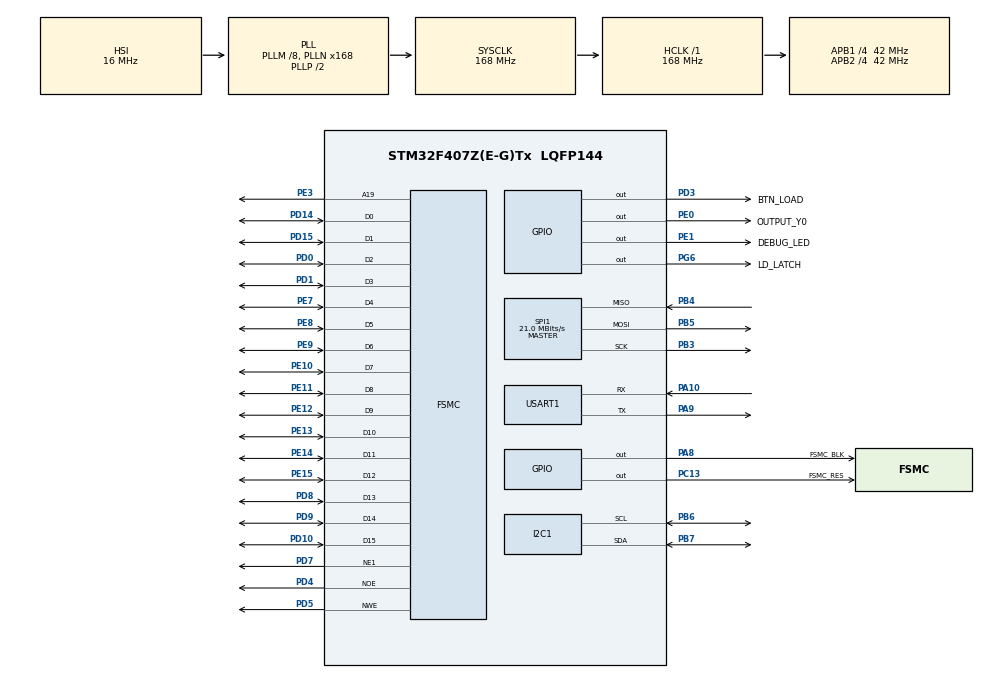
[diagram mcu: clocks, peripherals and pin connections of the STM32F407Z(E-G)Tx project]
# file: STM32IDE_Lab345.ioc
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FSMC.AddressSetupTime1=0xf
FSMC.BusTurnAroundDuration1=0
FSMC.DataSetupTime1=60
FSMC.ExtendedAddressSetupTime1=8
FSMC.ExtendedBusTurnAroundDuration1=0
FSMC.ExtendedDataSetupTime1=9
FSMC.ExtendedMode1=FSMC_EXTENDED_MODE_ENABLE
Mcu.Family=STM32F4
Mcu.Name=STM32F407Z(E-G)Tx
Mcu.Package=LQFP144
NVIC.PriorityGroup=NVIC_PRIORITYGROUP_4
NVIC.TIM2_IRQn=true\:0\:0\:false\:false\:true\:true\:true
NVIC.USART1_IRQn=true\:0\:0\:false\:false\:true\:true\:true
PA10.Mode=Asynchronous
PA10.Signal=USART1_RX
PA13.Mode=Serial_Wire
PA13.Signal=SYS_JTMS-SWDIO
PA14.Mode=Serial_Wire
PA14.Signal=SYS_JTCK-SWCLK
PA8.GPIO_Label=FSMC_BLK
PA8.Signal=GPIO_Output
PA9.Mode=Asynchronous
PA9.Signal=USART1_TX
PB3.Mode=Full_Duplex_Master
PB3.Signal=SPI1_SCK
PB4.Mode=Full_Duplex_Master
PB4.Signal=SPI1_MISO
PB5.Mode=Full_Duplex_Master
PB5.Signal=SPI1_MOSI
PB6.Mode=I2C
PB6.Signal=I2C1_SCL
PB7.Mode=I2C
PB7.Signal=I2C1_SDA
PC13-ANTI_TAMP.GPIO_Label=FSMC_RES
PC13-ANTI_TAMP.Signal=GPIO_Output
PD0.Signal=FSMC_D2_DA2
PD1.Signal=FSMC_D3_DA3
PD10.Signal=FSMC_D15_DA15
PD14.Signal=FSMC_D0_DA0
PD15.Signal=FSMC_D1_DA1
PD3.GPIO_Label=BTN_LOAD
PD3.GPIO_PuPd=GPIO_NOPULL
PD3.Signal=GPIO_Output
PD4.Signal=FSMC_NOE
PD5.Signal=FSMC_NWE
PD7.Mode=NorPsramChipSelect1_1
PD7.Signal=FSMC_NE1
PD8.Signal=FSMC_D13_DA13
PD9.Signal=FSMC_D14_DA14
PE0.GPIO_Label=OUTPUT_Y0
PE0.Signal=GPIO_Output
PE1.GPIO_Label=DEBUG_LED
PE1.Signal=GPIO_Output
PE10.Signal=FSMC_D7_DA7
PE11.Signal=FSMC_D8_DA8
PE12.Signal=FSMC_D9_DA9
PE13.Signal=FSMC_D10_DA10
PE14.Signal=FSMC_D11_DA11
PE15.Signal=FSMC_D12_DA12
PE3.Signal=FSMC_A19
PE7.Signal=FSMC_D4_DA4
PE8.Signal=FSMC_D5_DA5
PE9.Signal=FSMC_D6_DA6
PG6.GPIO_Label=LD_LATCH
PG6.Signal=GPIO_Output
PH0-OSC_IN.Mode=HSE-External-Oscillator
PH0-OSC_IN.Signal=RCC_OSC_IN
PH1-OSC_OUT.Mode=HSE-External-Oscillator
PH1-OSC_OUT.Signal=RCC_OSC_OUT
ProjectManager.HeapSize=0x200
ProjectManager.StackSize=0x400
ProjectManager.TargetToolchain=STM32CubeIDE
RCC.48MHZClocksFreq_Value=84000000
RCC.AHBFreq_Value=168000000
RCC.APB1CLKDivider=RCC_HCLK_DIV4
RCC.APB1Freq_Value=42000000
RCC.APB1TimFreq_Value=84000000
RCC.APB2CLKDivider=RCC_HCLK_DIV4
RCC.APB2Freq_Value=42000000
RCC.APB2TimFreq_Value=84000000
RCC.CortexFreq_Value=168000000
RCC.HCLKFreq_Value=168000000
RCC.HSE_VALUE=8000000
RCC.HSI_VALUE=16000000
RCC.LSE_VALUE=32768
RCC.PLLM=8
RCC.PLLN=168
RCC.SYSCLKFreq_VALUE=168000000
RCC.SYSCLKSource=RCC_SYSCLKSOURCE_PLLCLK
RCC.VCOOutputFreq_Value=336000000
SH.FSMC_A19.0=FSMC_A19,A19_1
SH.FSMC_D0_DA0.0=FSMC_D0,16b-d1
SH.FSMC_D10_DA10.0=FSMC_D10,16b-d1
SH.FSMC_D11_DA11.0=FSMC_D11,16b-d1
SH.FSMC_D12_DA12.0=FSMC_D12,16b-d1
SH.FSMC_D13_DA13.0=FSMC_D13,16b-d1
SH.FSMC_D14_DA14.0=FSMC_D14,16b-d1
SH.FSMC_D15_DA15.0=FSMC_D15,16b-d1
SH.FSMC_D1_DA1.0=FSMC_D1,16b-d1
SH.FSMC_D2_DA2.0=FSMC_D2,16b-d1
SH.FSMC_D3_DA3.0=FSMC_D3,16b-d1
SH.FSMC_D4_DA4.0=FSMC_D4,16b-d1
SH.FSMC_D5_DA5.0=FSMC_D5,16b-d1
SH.FSMC_D6_DA6.0=FSMC_D6,16b-d1
SH.FSMC_D7_DA7.0=FSMC_D7,16b-d1
SH.FSMC_D8_DA8.0=FSMC_D8,16b-d1
SH.FSMC_D9_DA9.0=FSMC_D9,16b-d1
SH.FSMC_NOE.0=FSMC_NOE,Lcd1
SH.FSMC_NWE.0=FSMC_NWE,Lcd1
SPI1.CalculateBaudRate=21.0 MBits/s
SPI1.Direction=SPI_DIRECTION_2LINES
SPI1.Mode=SPI_MODE_MASTER
SPI1.VirtualType=VM_MASTER
TIM2.Period=100-1
TIM2.Prescaler=840-1
USART1.VirtualMode=VM_ASYNC
VP_TIM2_VS_ClockSourceINT.Mode=Internal
board=custom

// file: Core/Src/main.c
/* USER CODE BEGIN Header */
/**
  ******************************************************************************
  * @file           : main.c
  * @brief          : Main program body
  ******************************************************************************
  * @attention
  *
  * <h2><center>&copy; Copyright (c) 2024 STMicroelectronics.
  * All rights reserved.</center></h2>
  *
  * This software component is licensed by ST under BSD 3-Clause license,
  * the "License"; You may not use this file except in compliance with the
  * License. You may obtain a copy of the License at:
  *                        opensource.org/licenses/BSD-3-Clause
  *
  ******************************************************************************
  */
/* USER CODE END Header */
#include "main.h"

/* USER CODE BEGIN Includes */
#include "lcd.h"
#include "button.h"
#include "fsm_manual.h"
#include "clock_automatic.h"
#include "software_timer.h"
#include "led7_segment.h"
#include "led_7seg.h"
#include "picture.h"
#include "ds3231.h"
#include "uart.h"
#include "i2c.h"
#include "spi.h"
#include "usart.h"
#include "global.h"
#include "clock_setting.h"
/* USER CODE END Includes */

I2C_HandleTypeDef hi2c1;

SPI_HandleTypeDef hspi1;

TIM_HandleTypeDef htim2;

UART_HandleTypeDef huart1;

SRAM_HandleTypeDef hsram1;

void SystemClock_Config(void);
static void MX_GPIO_Init(void);
static void MX_TIM2_Init(void);
static void MX_FSMC_Init(void);
static void MX_I2C1_Init(void);
static void MX_SPI1_Init(void);
static void MX_USART1_UART_Init(void);
/* USER CODE BEGIN PFP */
void test_lcd();
void test_button();
void system_init();
void test_LedDebug();
void test_Uart();
//void toggleDisplayTime(uint8_t index, uint8_t toggle);
//void checkTime();
//void checkAlart();
//void alartNotify();
//void checkTimeAlart();
//void displayAlartTime();
//void setAlartInit();
/* USER CODE END PFP */

int main(void)
{

  /* MCU Configuration--------------------------------------------------------*/

  /* Reset of all peripherals, Initializes the Flash interface and the Systick. */
  HAL_Init();

  /* Configure the system clock */
  SystemClock_Config();

  /* Initialize all configured peripherals */
  MX_GPIO_Init();
  MX_TIM2_Init();
  MX_FSMC_Init();
  MX_I2C1_Init();
  MX_SPI1_Init();
  MX_USART1_UART_Init();
  /* USER CODE BEGIN 2 */
  system_init();
  HAL_TIM_Base_Start_IT(&htim2);
  /* USER CODE END 2 */

  /* Infinite loop */
  /* USER CODE BEGIN WHILE */
//  lcd_init();
//  lcd_Clear(WHITE);
//  test_lcd();

  	  lcd_Clear(BLACK);
  	  setTimer2(200);
  	  ds3231_ReadTime();
  	  setAlartInit();
  	  updateTime(ds3231_sec, ds3231_min, ds3231_hours, ds3231_day, ds3231_date, ds3231_month, ds3231_year);

  	  while (1) {
//	  button_Scan();
//	  fsm_manual_run();

//	  button_Scan();
//	  clock_automatic_run();
  		  lcd_ShowStr(10, 30, "Received: ", WHITE, BLACK, 24, 1);
  		  if (receive_buffer1 != 0) {
  			lcd_ShowIntNum(150, 30, &receive_buffer1, 2, WHITE, BLACK, 24);
  		  }
//	  while(!timer2_flag);
//	  	 timer2_flag = 0;
//	  	 button_Scan();
//	  	 test_LedDebug();
//	  	 ds3231_ReadTime();
//	  	 displayTime(modeStatus);
//	  	 test_Uart();
    /* USER CODE END WHILE */

  }
}

void SystemClock_Config(void)
{
  RCC_OscInitTypeDef RCC_OscInitStruct = {0};
  RCC_ClkInitTypeDef RCC_ClkInitStruct = {0};

  /** Configure the main internal regulator output voltage
  */
  __HAL_RCC_PWR_CLK_ENABLE();
  __HAL_PWR_VOLTAGESCALING_CONFIG(PWR_REGULATOR_VOLTAGE_SCALE1);
  /** Initializes the RCC Oscillators according to the specified parameters
  * in the RCC_OscInitTypeDef structure.
  */
  RCC_OscInitStruct.OscillatorType = RCC_OSCILLATORTYPE_HSI;
  RCC_OscInitStruct.HSIState = RCC_HSI_ON;
  RCC_OscInitStruct.HSICalibrationValue = RCC_HSICALIBRATION_DEFAULT;
  RCC_OscInitStruct.PLL.PLLState = RCC_PLL_ON;
  RCC_OscInitStruct.PLL.PLLSource = RCC_PLLSOURCE_HSI;
  RCC_OscInitStruct.PLL.PLLM = 8;
  RCC_OscInitStruct.PLL.PLLN = 168;
  RCC_OscInitStruct.PLL.PLLP = RCC_PLLP_DIV2;
  RCC_OscInitStruct.PLL.PLLQ = 4;
  if (HAL_RCC_OscConfig(&RCC_OscInitStruct) != HAL_OK)
  {
    Error_Handler();
  }
  /** Initializes the CPU, AHB and APB buses clocks
  */
  RCC_ClkInitStruct.ClockType = RCC_CLOCKTYPE_HCLK|RCC_CLOCKTYPE_SYSCLK
                              |RCC_CLOCKTYPE_PCLK1|RCC_CLOCKTYPE_PCLK2;
  RCC_ClkInitStruct.SYSCLKSource = RCC_SYSCLKSOURCE_PLLCLK;
  RCC_ClkInitStruct.AHBCLKDivider = RCC_SYSCLK_DIV1;
  RCC_ClkInitStruct.APB1CLKDivider = RCC_HCLK_DIV4;
  RCC_ClkInitStruct.APB2CLKDivider = RCC_HCLK_DIV4;

  if (HAL_RCC_ClockConfig(&RCC_ClkInitStruct, FLASH_LATENCY_5) != HAL_OK)
  {
    Error_Handler();
  }
}

static void MX_I2C1_Init(void)
{

  hi2c1.Instance = I2C1;
  hi2c1.Init.ClockSpeed = 100000;
  hi2c1.Init.DutyCycle = I2C_DUTYCYCLE_2;
  hi2c1.Init.OwnAddress1 = 0;
  hi2c1.Init.AddressingMode = I2C_ADDRESSINGMODE_7BIT;
  hi2c1.Init.DualAddressMode = I2C_DUALADDRESS_DISABLE;
  hi2c1.Init.OwnAddress2 = 0;
  hi2c1.Init.GeneralCallMode = I2C_GENERALCALL_DISABLE;
  hi2c1.Init.NoStretchMode = I2C_NOSTRETCH_DISABLE;
  if (HAL_I2C_Init(&hi2c1) != HAL_OK)
  {
    Error_Handler();
  }

}

static void MX_SPI1_Init(void)
{

  /* SPI1 parameter configuration*/
  hspi1.Instance = SPI1;
  hspi1.Init.Mode = SPI_MODE_MASTER;
  hspi1.Init.Direction = SPI_DIRECTION_2LINES;
  hspi1.Init.DataSize = SPI_DATASIZE_8BIT;
  hspi1.Init.CLKPolarity = SPI_POLARITY_LOW;
  hspi1.Init.CLKPhase = SPI_PHASE_1EDGE;
  hspi1.Init.NSS = SPI_NSS_SOFT;
  hspi1.Init.BaudRatePrescaler = SPI_BAUDRATEPRESCALER_2;
  hspi1.Init.FirstBit = SPI_FIRSTBIT_MSB;
  hspi1.Init.TIMode = SPI_TIMODE_DISABLE;
  hspi1.Init.CRCCalculation = SPI_CRCCALCULATION_DISABLE;
  hspi1.Init.CRCPolynomial = 10;
  if (HAL_SPI_Init(&hspi1) != HAL_OK)
  {
    Error_Handler();
  }

}

static void MX_TIM2_Init(void)
{

  TIM_ClockConfigTypeDef sClockSourceConfig = {0};
  TIM_MasterConfigTypeDef sMasterConfig = {0};

  htim2.Instance = TIM2;
  htim2.Init.Prescaler = 840-1;
  htim2.Init.CounterMode = TIM_COUNTERMODE_UP;
  htim2.Init.Period = 100-1;
  htim2.Init.ClockDivision = TIM_CLOCKDIVISION_DIV1;
  htim2.Init.AutoReloadPreload = TIM_AUTORELOAD_PRELOAD_DISABLE;
  if (HAL_TIM_Base_Init(&htim2) != HAL_OK)
  {
    Error_Handler();
  }
  sClockSourceConfig.ClockSource = TIM_CLOCKSOURCE_INTERNAL;
  if (HAL_TIM_ConfigClockSource(&htim2, &sClockSourceConfig) != HAL_OK)
  {
    Error_Handler();
  }
  sMasterConfig.MasterOutputTrigger = TIM_TRGO_RESET;
  sMasterConfig.MasterSlaveMode = TIM_MASTERSLAVEMODE_DISABLE;
  if (HAL_TIMEx_MasterConfigSynchronization(&htim2, &sMasterConfig) != HAL_OK)
  {
    Error_Handler();
  }

}

static void MX_USART1_UART_Init(void)
{

  huart1.Instance = USART1;
  huart1.Init.BaudRate = 115200;
  huart1.Init.WordLength = UART_WORDLENGTH_8B;
  huart1.Init.StopBits = UART_STOPBITS_1;
  huart1.Init.Parity = UART_PARITY_NONE;
  huart1.Init.Mode = UART_MODE_TX_RX;
  huart1.Init.HwFlowCtl = UART_HWCONTROL_NONE;
  huart1.Init.OverSampling = UART_OVERSAMPLING_16;
  if (HAL_UART_Init(&huart1) != HAL_OK)
  {
    Error_Handler();
  }

}

static void MX_GPIO_Init(void)
{
  GPIO_InitTypeDef GPIO_InitStruct = {0};

  /* GPIO Ports Clock Enable */
  __HAL_RCC_GPIOE_CLK_ENABLE();
  __HAL_RCC_GPIOC_CLK_ENABLE();
  __HAL_RCC_GPIOH_CLK_ENABLE();
  __HAL_RCC_GPIOD_CLK_ENABLE();
  __HAL_RCC_GPIOG_CLK_ENABLE();
  __HAL_RCC_GPIOA_CLK_ENABLE();
  __HAL_RCC_GPIOB_CLK_ENABLE();

  /*Configure GPIO pin Output Level */
  HAL_GPIO_WritePin(FSMC_RES_GPIO_Port, FSMC_RES_Pin, GPIO_PIN_RESET);

  /*Configure GPIO pin Output Level */
  HAL_GPIO_WritePin(LD_LATCH_GPIO_Port, LD_LATCH_Pin, GPIO_PIN_RESET);

  /*Configure GPIO pin Output Level */
  HAL_GPIO_WritePin(FSMC_BLK_GPIO_Port, FSMC_BLK_Pin, GPIO_PIN_RESET);

  /*Configure GPIO pin Output Level */
  HAL_GPIO_WritePin(BTN_LOAD_GPIO_Port, BTN_LOAD_Pin, GPIO_PIN_RESET);

  /*Configure GPIO pin Output Level */
  HAL_GPIO_WritePin(GPIOE, OUTPUT_Y0_Pin|DEBUG_LED_Pin, GPIO_PIN_RESET);

  /*Configure GPIO pin : FSMC_RES_Pin */
  GPIO_InitStruct.Pin = FSMC_RES_Pin;
  GPIO_InitStruct.Mode = GPIO_MODE_OUTPUT_PP;
  GPIO_InitStruct.Pull = GPIO_NOPULL;
  GPIO_InitStruct.Speed = GPIO_SPEED_FREQ_LOW;
  HAL_GPIO_Init(FSMC_RES_GPIO_Port, &GPIO_InitStruct);

  /*Configure GPIO pin : LD_LATCH_Pin */
  GPIO_InitStruct.Pin = LD_LATCH_Pin;
  GPIO_InitStruct.Mode = GPIO_MODE_OUTPUT_PP;
  GPIO_InitStruct.Pull = GPIO_NOPULL;
  GPIO_InitStruct.Speed = GPIO_SPEED_FREQ_LOW;
  HAL_GPIO_Init(LD_LATCH_GPIO_Port, &GPIO_InitStruct);

  /*Configure GPIO pin : FSMC_BLK_Pin */
  GPIO_InitStruct.Pin = FSMC_BLK_Pin;
  GPIO_InitStruct.Mode = GPIO_MODE_OUTPUT_PP;
  GPIO_InitStruct.Pull = GPIO_NOPULL;
  GPIO_InitStruct.Speed = GPIO_SPEED_FREQ_LOW;
  HAL_GPIO_Init(FSMC_BLK_GPIO_Port, &GPIO_InitStruct);

  /*Configure GPIO pin : BTN_LOAD_Pin */
  GPIO_InitStruct.Pin = BTN_LOAD_Pin;
  GPIO_InitStruct.Mode = GPIO_MODE_OUTPUT_PP;
  GPIO_InitStruct.Pull = GPIO_NOPULL;
  GPIO_InitStruct.Speed = GPIO_SPEED_FREQ_LOW;
  HAL_GPIO_Init(BTN_LOAD_GPIO_Port, &GPIO_InitStruct);

  /*Configure GPIO pins : OUTPUT_Y0_Pin DEBUG_LED_Pin */
  GPIO_InitStruct.Pin = OUTPUT_Y0_Pin|DEBUG_LED_Pin;
  GPIO_InitStruct.Mode = GPIO_MODE_OUTPUT_PP;
  GPIO_InitStruct.Pull = GPIO_NOPULL;
  GPIO_InitStruct.Speed = GPIO_SPEED_FREQ_LOW;
  HAL_GPIO_Init(GPIOE, &GPIO_InitStruct);

}

/* FSMC initialization function */
static void MX_FSMC_Init(void)
{

  FSMC_NORSRAM_TimingTypeDef Timing = {0};
  FSMC_NORSRAM_TimingTypeDef ExtTiming = {0};

  /** Perform the SRAM1 memory initialization sequence
  */
  hsram1.Instance = FSMC_NORSRAM_DEVICE;
  hsram1.Extended = FSMC_NORSRAM_EXTENDED_DEVICE;
  /* hsram1.Init */
  hsram1.Init.NSBank = FSMC_NORSRAM_BANK1;
  hsram1.Init.DataAddressMux = FSMC_DATA_ADDRESS_MUX_DISABLE;
  hsram1.Init.MemoryType = FSMC_MEMORY_TYPE_SRAM;
  hsram1.Init.MemoryDataWidth = FSMC_NORSRAM_MEM_BUS_WIDTH_16;
  hsram1.Init.BurstAccessMode = FSMC_BURST_ACCESS_MODE_DISABLE;
  hsram1.Init.WaitSignalPolarity = FSMC_WAIT_SIGNAL_POLARITY_LOW;
  hsram1.Init.WrapMode = FSMC_WRAP_MODE_DISABLE;
  hsram1.Init.WaitSignalActive = FSMC_WAIT_TIMING_BEFORE_WS;
  hsram1.Init.WriteOperation = FSMC_WRITE_OPERATION_ENABLE;
  hsram1.Init.WaitSignal = FSMC_WAIT_SIGNAL_DISABLE;
  hsram1.Init.ExtendedMode = FSMC_EXTENDED_MODE_ENABLE;
  hsram1.Init.AsynchronousWait = FSMC_ASYNCHRONOUS_WAIT_DISABLE;
  hsram1.Init.WriteBurst = FSMC_WRITE_BURST_DISABLE;
  hsram1.Init.PageSize = FSMC_PAGE_SIZE_NONE;
  /* Timing */
  Timing.AddressSetupTime = 0xf;
  Timing.AddressHoldTime = 15;
  Timing.DataSetupTime = 60;
  Timing.BusTurnAroundDuration = 0;
  Timing.CLKDivision = 16;
  Timing.DataLatency = 17;
  Timing.AccessMode = FSMC_ACCESS_MODE_A;
  /* ExtTiming */
  ExtTiming.AddressSetupTime = 8;
  ExtTiming.AddressHoldTime = 15;
  ExtTiming.DataSetupTime = 9;
  ExtTiming.BusTurnAroundDuration = 0;
  ExtTiming.CLKDivision = 16;
  ExtTiming.DataLatency = 17;
  ExtTiming.AccessMode = FSMC_ACCESS_MODE_A;

  if (HAL_SRAM_Init(&hsram1, &Timing, &ExtTiming) != HAL_OK)
  {
    Error_Handler( );
  }

}

/* USER CODE BEGIN 4 */
void system_init() {
//	HAL_GPIO_WritePin(OUTPUT_Y0_GPIO_Port, OUTPUT_Y0_Pin, 0);
//	HAL_GPIO_WritePin(OUTPUT_Y1_GPIO_Port, OUTPUT_Y1_Pin, 0);
//	HAL_GPIO_WritePin(DEBUG_LED_GPIO_Port, DEBUG_LED_Pin, 0);

	led7_init();
	button_init();
	lcd_init();
	ds3231_init();
	uart_init_rs232();
	setTimer2(50);
}

uint16_t count_led_debug = 0;

void test_LedDebug() {
	count_led_debug = (count_led_debug + 1)%20;
	if (count_led_debug == 0) {
		HAL_GPIO_TogglePin(DEBUG_LED_GPIO_Port, DEBUG_LED_Pin);
	}
}

void test_Uart() {
	if (button_count[12] == 1) {
		uart_Rs232SendNum(ds3231_hours);
		uart_Rs232SendString(":");
		uart_Rs232SendNum(ds3231_min);
		uart_Rs232SendString(":");
		uart_Rs232SendNum(ds3231_sec);
		uart_Rs232SendString("\n");
	}
}

void test_7seg(){
	led7_SetDigit(0, 0, 0);
	led7_SetDigit(5, 1, 0);
	led7_SetDigit(4, 2, 0);
	led7_SetDigit(7, 3, 0);
}

void test_button(){
	for(int i = 0; i < 16; i++){
		if(button_count[i] == 1){
			led7_SetDigit(i/10, 2, 0);
			led7_SetDigit(i%10, 3, 0);
		}
	}
}

void initial_lcd() {
	// Vertical
	lcd_DrawCircle(180, 120, RED, 20, 0);
	lcd_DrawCircle(180, 170, GREEN, 20, 0);
	lcd_DrawCircle(180, 220, YELLOW, 20, 0);

	// Horizontal
	lcd_DrawCircle(120, 60, RED, 20, 0);
	lcd_DrawCircle(70, 60, GREEN, 20, 0);
	lcd_DrawCircle(20, 60, YELLOW, 20, 0);
}

void HAL_TIM_PeriodElapsedCallback(TIM_HandleTypeDef *htim) {
	timerRun();
//	getKeyInputButton1();
//	getKeyInputButton2();
//	getKeyInputButton3();
}

/* USER CODE END 4 */

void Error_Handler(void)
{
  __disable_irq();
  while (1)
  {
  }
}

/************************ (C) COPYRIGHT STMicroelectronics *****END OF FILE****/
